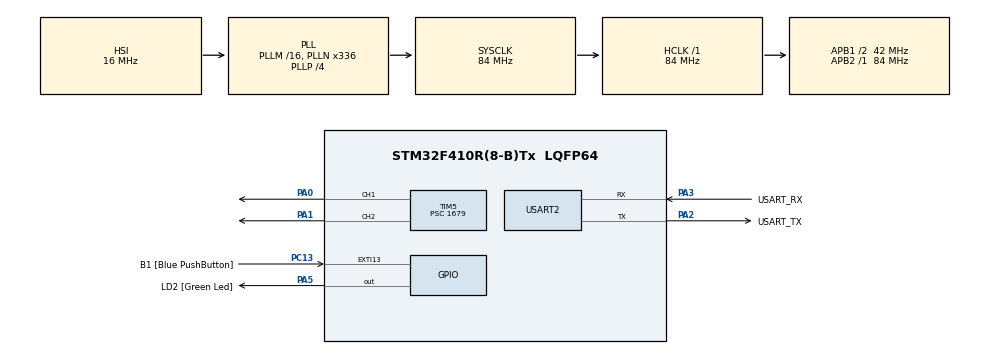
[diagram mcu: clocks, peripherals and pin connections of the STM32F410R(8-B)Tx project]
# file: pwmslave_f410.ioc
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Mcu.Family=STM32F4
Mcu.Name=STM32F410R(8-B)Tx
Mcu.Package=LQFP64
NVIC.PriorityGroup=NVIC_PRIORITYGROUP_0
NVIC.USART2_IRQn=true\:0\:0\:false\:false\:true\:true\:true\:true
PA0-WKUP.Signal=S_TIM5_CH1
PA1.Signal=S_TIM5_CH2
PA13.GPIO_Label=TMS
PA13.Mode=Serial_Wire
PA13.Signal=SYS_JTMS-SWDIO
PA14.GPIO_Label=TCK
PA14.Mode=Serial_Wire
PA14.Signal=SYS_JTCK-SWCLK
PA2.GPIO_Label=USART_TX
PA2.Mode=Asynchronous
PA2.Signal=USART2_TX
PA3.GPIO_Label=USART_RX
PA3.Mode=Asynchronous
PA3.Signal=USART2_RX
PA5.GPIO_Label=LD2 [Green Led]
PA5.Signal=GPIO_Output
PB3.GPIO_Label=SWO
PB3.Signal=SYS_JTDO-SWO
PC13-ANTI_TAMP.GPIO_Label=B1 [Blue PushButton]
PC13-ANTI_TAMP.GPIO_ModeDefaultEXTI=GPIO_MODE_IT_FALLING
PC13-ANTI_TAMP.Signal=GPXTI13
PC14-OSC32_IN.Mode=LSE-External-Oscillator
PC14-OSC32_IN.Signal=RCC_OSC32_IN
PC15-OSC32_OUT.Mode=LSE-External-Oscillator
PC15-OSC32_OUT.Signal=RCC_OSC32_OUT
PH0\ -\ OSC_IN.Mode=HSE-External-Clock-Source
PH0\ -\ OSC_IN.Signal=RCC_OSC_IN
PH1\ -\ OSC_OUT.Mode=HSE-External-Clock-Source
PH1\ -\ OSC_OUT.Signal=RCC_OSC_OUT
ProjectManager.HeapSize=0x200
ProjectManager.StackSize=0x400
ProjectManager.TargetToolchain=EWARM V8.50
RCC.48MHZClocksFreq_Value=84000000
RCC.AHBFreq_Value=84000000
RCC.APB1CLKDivider=RCC_HCLK_DIV2
RCC.APB1Freq_Value=42000000
RCC.APB1TimFreq_Value=84000000
RCC.APB2Freq_Value=84000000
RCC.APB2TimFreq_Value=84000000
RCC.CortexFreq_Value=84000000
RCC.FLatency-AdvancedSettings=FLASH_LATENCY_2
RCC.HCLKFreq_Value=84000000
RCC.HSE_VALUE=8000000
RCC.HSI_VALUE=16000000
RCC.PLLN=336
RCC.PLLP=RCC_PLLP_DIV4
RCC.SYSCLKFreq_VALUE=84000000
RCC.SYSCLKSource=RCC_SYSCLKSOURCE_PLLCLK
RCC.VCOOutputFreq_Value=336000000
SH.S_TIM5_CH1.0=TIM5_CH1,PWM Generation1 CH1
SH.S_TIM5_CH2.0=TIM5_CH2,PWM Generation2 CH2
TIM5.AutoReloadPreload=TIM_AUTORELOAD_PRELOAD_ENABLE
TIM5.Channel-PWM\ Generation1\ CH1=TIM_CHANNEL_1
TIM5.Channel-PWM\ Generation2\ CH2=TIM_CHANNEL_2
TIM5.Period=999
TIM5.Prescaler=1679
TIM5.Pulse-PWM\ Generation1\ CH1=75
USART2.VirtualMode=VM_ASYNC
board=NUCLEO-F410RB

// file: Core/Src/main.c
/* USER CODE BEGIN Header */
/**
  ******************************************************************************
  * @file           : main.c
  * @brief          : Main program body
  ******************************************************************************
  * @attention
  *
  * Copyright (c) 2026 STMicroelectronics.
  * All rights reserved.
  *
  * This software is licensed under terms that can be found in the LICENSE file
  * in the root directory of this software component.
  * If no LICENSE file comes with this software, it is provided AS-IS.
  *
  ******************************************************************************
  */
/* USER CODE END Header */
#include "main.h"

/* USER CODE BEGIN Includes */
#include <stdint.h>
#include <string.h>
/* USER CODE END Includes */

/* USER CODE BEGIN PD */
#define FRAME_LEN        11
#define SYNC1            0xAA
#define SYNC2            0x55
#define RINGBUF_SIZE     64
#define FAILSAFE_MS      200
#define FAILSAFE_CENTER  1024
#define HEARTBEAT_MS     250      /* 2 Hz toggle on lost link */

/* PWM brake servo — TIM5 CH1 (PA0), µs direct */
/* Physical inversion: 1900µs = rod extended = brake OFF, 1100µs = rod retracted = brake ON */
#define PWM_SERVO_MIN_US      1100     /* full brake ON */
#define PWM_SERVO_MAX_US      1900     /* brake OFF */
#define PWM_FAILSAFE_US       1150     /* failsafe → brake ON */

/* PWM gear servo — TIM5 CH2 (PA1), µs direct (mechanisch kalibriert) */
/*   NEUTRAL = 1375µs, DRIVE = 1450µs, REVERSE = 1300µs */
#define PWM_GEAR_MIN_US       1100
#define PWM_GEAR_MAX_US       1900
#define PWM_GEAR_FAILSAFE_US  1375     /* failsafe → NEUTRAL (kalibriert) */

#define PWM_PERIOD_US    20000    /* 50 Hz = 20ms period */
#define PWM_MAX_CCR      999      /* TIM5 counter period */
/* USER CODE END PD */

TIM_HandleTypeDef htim5;

UART_HandleTypeDef huart2;

/* USER CODE BEGIN PV */
/* ISR single-byte landing spot */
static uint8_t rx_byte;

/* SPSC ring buffer: ISR writes head, main reads tail — no lock needed */
static volatile uint8_t  rb_buf[RINGBUF_SIZE];
static volatile uint16_t rb_head = 0;
static volatile uint16_t rb_tail = 0;

typedef struct {
    uint16_t ch1, ch2, ch3, ch4;
    uint32_t last_frame_tick;
    uint8_t  link_ok;
} rc_state_t;

static rc_state_t rc = {
    .ch1 = PWM_FAILSAFE_US, .ch2 = FAILSAFE_CENTER,
    .ch3 = PWM_GEAR_FAILSAFE_US, .ch4 = FAILSAFE_CENTER,
    .last_frame_tick = 0, .link_ok = 0
};

/* Parser state */
typedef enum {
    PS_SYNC1 = 0,   /* hunting for 0xAA                       */
    PS_SYNC2,       /* got 0xAA, expect 0x55                  */
    PS_PAYLOAD      /* collecting 9 bytes: 4*u16 LE + CRC8    */
} parser_state_t;

static parser_state_t pstate = PS_SYNC1;
static uint8_t        payload[FRAME_LEN - 2];
static uint8_t        pidx = 0;
/* USER CODE END PV */

void SystemClock_Config(void);
static void MX_GPIO_Init(void);
static void MX_USART2_UART_Init(void);
static void MX_TIM5_Init(void);
/* USER CODE BEGIN PFP */
static uint8_t crc8_dallas(const uint8_t *data, uint8_t len);
static void    rb_push(uint8_t b);
static int     rb_pop(uint8_t *b);
static void    parser_feed(uint8_t b);
static void    update_servo_pwm(uint16_t pulse_us);
static void    update_gear_pwm(uint16_t pulse_us);
/* USER CODE END PFP */

/* USER CODE BEGIN 0 */

/* CRC8 Dallas/Maxim — reflected poly 0x8C, init 0x00, no final xor. */
static uint8_t crc8_dallas(const uint8_t *data, uint8_t len) {
    uint8_t crc = 0x00;
    for (uint8_t i = 0; i < len; i++) {
        uint8_t b = data[i];
        for (uint8_t j = 0; j < 8; j++) {
            uint8_t mix = (crc ^ b) & 0x01;
            crc >>= 1;
            if (mix) crc ^= 0x8C;
            b >>= 1;
        }
    }
    return crc;
}

/* Writer — called only from ISR. Drops byte on overflow. */
static void rb_push(uint8_t b) {
    uint16_t next = (uint16_t)((rb_head + 1) % RINGBUF_SIZE);
    if (next != rb_tail) {
        rb_buf[rb_head] = b;
        rb_head = next;
    }
}

/* Reader — called only from main loop. */
static int rb_pop(uint8_t *b) {
    if (rb_head == rb_tail) return 0;
    *b = rb_buf[rb_tail];
    rb_tail = (uint16_t)((rb_tail + 1) % RINGBUF_SIZE);
    return 1;
}

/*
 * Resynchronizing frame parser.
 *
 *   PS_SYNC1   : hunt for 0xAA. Anything else is discarded.
 *   PS_SYNC2   : saw 0xAA, expect 0x55. If another 0xAA arrives, stay here
 *                (it might be the real start). Any other byte -> hunt again.
 *   PS_PAYLOAD : collect 9 bytes. When full, verify CRC over the first 8.
 *                On success, update rc and mark link_ok. On CRC failure,
 *                discard and resync — a spurious 0xAA 0x55 only costs one frame.
 */
static void parser_feed(uint8_t b) {
    switch (pstate) {
    case PS_SYNC1:
        if (b == SYNC1) pstate = PS_SYNC2;
        break;

    case PS_SYNC2:
        if (b == SYNC2)      { pstate = PS_PAYLOAD; pidx = 0; }
        else if (b != SYNC1) { pstate = PS_SYNC1; }
        break;

    case PS_PAYLOAD:
        payload[pidx++] = b;
        if (pidx == (FRAME_LEN - 2)) {
            uint8_t crc_calc = crc8_dallas(payload, 8);
            uint8_t crc_rx   = payload[8];
            if (crc_calc == crc_rx) {
                rc.ch1 = (uint16_t)payload[0] | ((uint16_t)payload[1] << 8);
                rc.ch2 = (uint16_t)payload[2] | ((uint16_t)payload[3] << 8);
                rc.ch3 = (uint16_t)payload[4] | ((uint16_t)payload[5] << 8);
                rc.ch4 = (uint16_t)payload[6] | ((uint16_t)payload[7] << 8);
                rc.last_frame_tick = HAL_GetTick();
                rc.link_ok = 1;
                update_servo_pwm(rc.ch1);
                update_gear_pwm(rc.ch3);
            }
            pstate = PS_SYNC1;
        }
        break;
    }
}

/* CH1 value is pulse width in µs, clamped to safe brake servo range. */
static void update_servo_pwm(uint16_t pulse_us) {
    if (pulse_us < PWM_SERVO_MIN_US) pulse_us = PWM_SERVO_MIN_US;
    if (pulse_us > PWM_SERVO_MAX_US) pulse_us = PWM_SERVO_MAX_US;
    uint32_t ccr = (pulse_us * (PWM_MAX_CCR + 1)) / PWM_PERIOD_US;
    __HAL_TIM_SET_COMPARE(&htim5, TIM_CHANNEL_1, ccr);
}

/* CH3 value is pulse width in µs, clamped to safe gear servo range. */
static void update_gear_pwm(uint16_t pulse_us) {
    if (pulse_us < PWM_GEAR_MIN_US) pulse_us = PWM_GEAR_MIN_US;
    if (pulse_us > PWM_GEAR_MAX_US) pulse_us = PWM_GEAR_MAX_US;
    uint32_t ccr = (pulse_us * (PWM_MAX_CCR + 1)) / PWM_PERIOD_US;
    __HAL_TIM_SET_COMPARE(&htim5, TIM_CHANNEL_2, ccr);
}

/* USER CODE END 0 */

int main(void)
{

  /* MCU Configuration--------------------------------------------------------*/

  /* Reset of all peripherals, Initializes the Flash interface and the Systick. */
  HAL_Init();

  /* Configure the system clock */
  SystemClock_Config();

  /* Initialize all configured peripherals */
  MX_GPIO_Init();
  MX_USART2_UART_Init();
  MX_TIM5_Init();
  /* USER CODE BEGIN 2 */
  HAL_UART_Receive_IT(&huart2, &rx_byte, 1);

  /* Start PWM on TIM5 CH1 (PA0) brake servo, CH2 (PA1) gear servo */
  HAL_TIM_PWM_Start(&htim5, TIM_CHANNEL_1);
  HAL_TIM_PWM_Start(&htim5, TIM_CHANNEL_2);

  /* Set initial failsafe positions */
  update_servo_pwm(PWM_FAILSAFE_US);
  update_gear_pwm(PWM_GEAR_FAILSAFE_US);
  /* USER CODE END 2 */

  /* Infinite loop */
  while (1)
  {

    /* USER CODE BEGIN 3 */
    /* Drain ISR bytes into parser */
    uint8_t b;
    while (rb_pop(&b)) parser_feed(b);

    /* Failsafe timeout */
    uint32_t now = HAL_GetTick();
    if (rc.link_ok && (now - rc.last_frame_tick) > FAILSAFE_MS) {
        rc.link_ok = 0;
        rc.ch1 = PWM_FAILSAFE_US;
        rc.ch3 = PWM_GEAR_FAILSAFE_US;
        rc.ch2 = rc.ch4 = FAILSAFE_CENTER;
        update_servo_pwm(PWM_FAILSAFE_US);
        update_gear_pwm(PWM_GEAR_FAILSAFE_US);
    }

    /* LED: solid on valid link, 2 Hz blink on failsafe */
    if (rc.link_ok) {
        HAL_GPIO_WritePin(LD2_GPIO_Port, LD2_Pin, GPIO_PIN_SET);
    } else {
        static uint32_t last_toggle = 0;
        if ((now - last_toggle) >= HEARTBEAT_MS) {
            HAL_GPIO_TogglePin(LD2_GPIO_Port, LD2_Pin);
            last_toggle = now;
        }
    }
  }
  /* USER CODE END 3 */
}

void SystemClock_Config(void)
{
  RCC_OscInitTypeDef RCC_OscInitStruct = {0};
  RCC_ClkInitTypeDef RCC_ClkInitStruct = {0};

  /** Configure the main internal regulator output voltage
  */
  __HAL_RCC_PWR_CLK_ENABLE();
  __HAL_PWR_VOLTAGESCALING_CONFIG(PWR_REGULATOR_VOLTAGE_SCALE1);

  /** Initializes the RCC Oscillators according to the specified parameters
  * in the RCC_OscInitTypeDef structure.
  */
  RCC_OscInitStruct.OscillatorType = RCC_OSCILLATORTYPE_HSI;
  RCC_OscInitStruct.HSIState = RCC_HSI_ON;
  RCC_OscInitStruct.HSICalibrationValue = RCC_HSICALIBRATION_DEFAULT;
  RCC_OscInitStruct.PLL.PLLState = RCC_PLL_ON;
  RCC_OscInitStruct.PLL.PLLSource = RCC_PLLSOURCE_HSI;
  RCC_OscInitStruct.PLL.PLLM = 16;
  RCC_OscInitStruct.PLL.PLLN = 336;
  RCC_OscInitStruct.PLL.PLLP = RCC_PLLP_DIV4;
  RCC_OscInitStruct.PLL.PLLQ = 4;
  RCC_OscInitStruct.PLL.PLLR = 2;
  if (HAL_RCC_OscConfig(&RCC_OscInitStruct) != HAL_OK)
  {
    Error_Handler();
  }

  /** Initializes the CPU, AHB and APB buses clocks
  */
  RCC_ClkInitStruct.ClockType = RCC_CLOCKTYPE_HCLK|RCC_CLOCKTYPE_SYSCLK
                              |RCC_CLOCKTYPE_PCLK1|RCC_CLOCKTYPE_PCLK2;
  RCC_ClkInitStruct.SYSCLKSource = RCC_SYSCLKSOURCE_PLLCLK;
  RCC_ClkInitStruct.AHBCLKDivider = RCC_SYSCLK_DIV1;
  RCC_ClkInitStruct.APB1CLKDivider = RCC_HCLK_DIV2;
  RCC_ClkInitStruct.APB2CLKDivider = RCC_HCLK_DIV1;

  if (HAL_RCC_ClockConfig(&RCC_ClkInitStruct, FLASH_LATENCY_2) != HAL_OK)
  {
    Error_Handler();
  }
}

static void MX_TIM5_Init(void)
{

  TIM_MasterConfigTypeDef sMasterConfig = {0};
  TIM_OC_InitTypeDef sConfigOC = {0};

  htim5.Instance = TIM5;
  htim5.Init.Prescaler = 1679;
  htim5.Init.CounterMode = TIM_COUNTERMODE_UP;
  htim5.Init.Period = 999;
  htim5.Init.ClockDivision = TIM_CLOCKDIVISION_DIV1;
  htim5.Init.AutoReloadPreload = TIM_AUTORELOAD_PRELOAD_ENABLE;
  if (HAL_TIM_PWM_Init(&htim5) != HAL_OK)
  {
    Error_Handler();
  }
  sMasterConfig.MasterOutputTrigger = TIM_TRGO_RESET;
  sMasterConfig.MasterSlaveMode = TIM_MASTERSLAVEMODE_DISABLE;
  if (HAL_TIMEx_MasterConfigSynchronization(&htim5, &sMasterConfig) != HAL_OK)
  {
    Error_Handler();
  }
  sConfigOC.OCMode = TIM_OCMODE_PWM1;
  sConfigOC.Pulse = 75;
  sConfigOC.OCPolarity = TIM_OCPOLARITY_HIGH;
  sConfigOC.OCFastMode = TIM_OCFAST_DISABLE;
  if (HAL_TIM_PWM_ConfigChannel(&htim5, &sConfigOC, TIM_CHANNEL_1) != HAL_OK)
  {
    Error_Handler();
  }
  sConfigOC.Pulse = 0;
  if (HAL_TIM_PWM_ConfigChannel(&htim5, &sConfigOC, TIM_CHANNEL_2) != HAL_OK)
  {
    Error_Handler();
  }
  HAL_TIM_MspPostInit(&htim5);

}

static void MX_USART2_UART_Init(void)
{

  huart2.Instance = USART2;
  huart2.Init.BaudRate = 115200;
  huart2.Init.WordLength = UART_WORDLENGTH_8B;
  huart2.Init.StopBits = UART_STOPBITS_1;
  huart2.Init.Parity = UART_PARITY_NONE;
  huart2.Init.Mode = UART_MODE_TX_RX;
  huart2.Init.HwFlowCtl = UART_HWCONTROL_NONE;
  huart2.Init.OverSampling = UART_OVERSAMPLING_16;
  if (HAL_UART_Init(&huart2) != HAL_OK)
  {
    Error_Handler();
  }

}

static void MX_GPIO_Init(void)
{
  GPIO_InitTypeDef GPIO_InitStruct = {0};

  /* GPIO Ports Clock Enable */
  __HAL_RCC_GPIOC_CLK_ENABLE();
  __HAL_RCC_GPIOH_CLK_ENABLE();
  __HAL_RCC_GPIOA_CLK_ENABLE();
  __HAL_RCC_GPIOB_CLK_ENABLE();

  /*Configure GPIO pin Output Level */
  HAL_GPIO_WritePin(LD2_GPIO_Port, LD2_Pin, GPIO_PIN_RESET);

  /*Configure GPIO pin : B1_Pin */
  GPIO_InitStruct.Pin = B1_Pin;
  GPIO_InitStruct.Mode = GPIO_MODE_IT_FALLING;
  GPIO_InitStruct.Pull = GPIO_NOPULL;
  HAL_GPIO_Init(B1_GPIO_Port, &GPIO_InitStruct);

  /*Configure GPIO pin : LD2_Pin */
  GPIO_InitStruct.Pin = LD2_Pin;
  GPIO_InitStruct.Mode = GPIO_MODE_OUTPUT_PP;
  GPIO_InitStruct.Pull = GPIO_NOPULL;
  GPIO_InitStruct.Speed = GPIO_SPEED_FREQ_LOW;
  HAL_GPIO_Init(LD2_GPIO_Port, &GPIO_InitStruct);

}

/* USER CODE BEGIN 4 */

void HAL_UART_RxCpltCallback(UART_HandleTypeDef *huart) {
    if (huart->Instance == USART2) {
        rb_push(rx_byte);
        HAL_UART_Receive_IT(&huart2, &rx_byte, 1);   /* re-arm */
    }
}

void HAL_UART_ErrorCallback(UART_HandleTypeDef *huart) {
    if (huart->Instance == USART2) {
        __HAL_UART_CLEAR_OREFLAG(huart);
        __HAL_UART_CLEAR_NEFLAG(huart);
        __HAL_UART_CLEAR_FEFLAG(huart);
        __HAL_UART_CLEAR_PEFLAG(huart);
        HAL_UART_Receive_IT(&huart2, &rx_byte, 1);   /* re-arm after any error */
    }
}

/* USER CODE END 4 */

void Error_Handler(void)
{
  __disable_irq();
  while (1)
  {
  }
}
